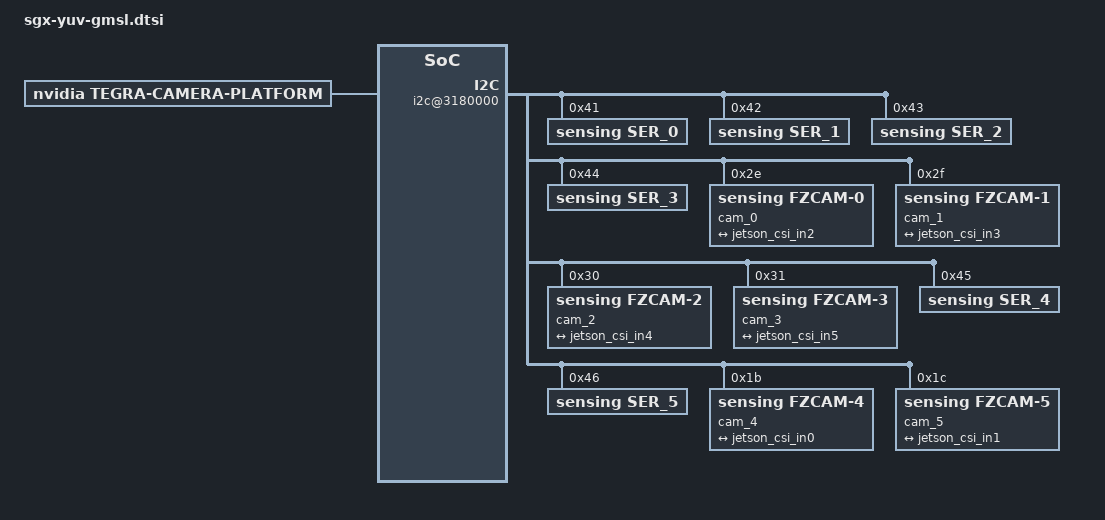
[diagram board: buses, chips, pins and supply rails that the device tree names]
/*
 * Copyright (c) 2018-2021, NVIDIA CORPORATION.  All rights reserved.
 *
 * This program is free software; you can redistribute it and/or modify it
 * under the terms and conditions of the GNU General Public License,
 * version 2, as published by the Free Software Foundation.
 *
 * This program is distributed in the hope it will be useful, but WITHOUT
 * ANY WARRANTY; without even the implied warranty of MERCHANTABILITY or
 * FITNESS FOR A PARTICULAR PURPOSE.  See the GNU General Public License for
 * more details.
 *
 * You should have received a copy of the GNU General Public License
 * along with this program.  If not, see <http://www.gnu.org/licenses/>.
 */

/ {
	tegra-capture-vi {
		num-channels = <6>;
		ports {
			#address-cells = <1>;
			#size-cells = <0>;
			port@0 {
				reg = <0>;
				jetson_vi_in0: endpoint {
					vc-id = <0>;
					port-index = <0>;
					bus-width = <4>;
					remote-endpoint = <&jetson_csi_out0>;
				};
			};
			port@1 {
				reg = <1>;
				jetson_vi_in1: endpoint {
					vc-id = <1>;
					port-index = <0>;
					bus-width = <4>;
					remote-endpoint = <&jetson_csi_out1>;
				};
			};
			port@2 {
				reg = <2>;
				jetson_vi_in2: endpoint {
					vc-id = <0>;
					port-index = <2>;
					bus-width = <4>;
					remote-endpoint = <&jetson_csi_out2>;
				};
			};
			port@3 {
				reg = <3>;
				jetson_vi_in3: endpoint {
					vc-id = <1>;
					port-index = <2>;
					bus-width = <4>;
					remote-endpoint = <&jetson_csi_out3>;
				};
			};
			port@4 {
				reg = <4>;
				jetson_vi_in4: endpoint {
					vc-id = <2>;
					port-index = <2>;
					bus-width = <4>;
					remote-endpoint = <&jetson_csi_out4>;
				};
			};
			port@5 {
				reg = <5>;
				jetson_vi_in5: endpoint {
					vc-id = <3>;
					port-index = <2>;
					bus-width = <4>;
					remote-endpoint = <&jetson_csi_out5>;
				};
			};
		};
	};

	host1x@13e00000 {
		nvcsi@15a00000 {
			num-channels = <6>;
			#address-cells = <1>;
			#size-cells = <0>;
			channel@0 {
				reg = <0>;
				ports {
					#address-cells = <1>;
					#size-cells = <0>;
					port@0 {
						reg = <0>;
						jetson_csi_in0: endpoint@0 {
							port-index = <0>;
							bus-width = <4>;
							remote-endpoint = <&cam_csi_out0>;
						};
					};
					port@1 {
						reg = <1>;
						jetson_csi_out0: endpoint@1 {
							remote-endpoint = <&jetson_vi_in0>;
						};
					};
				};
			};
			channel@1 {
				reg = <1>;
				ports {
					#address-cells = <1>;
					#size-cells = <0>;
					port@0 {
						reg = <0>;
						jetson_csi_in1: endpoint@2 {
							port-index = <0>;
							bus-width = <4>;
							remote-endpoint = <&cam_csi_out1>;
						};
					};
					port@1 {
						reg = <1>;
						jetson_csi_out1: endpoint@3 {
							remote-endpoint = <&jetson_vi_in1>;
						};
					};
				};
			};
			channel@2 {
				reg = <2>;
				ports {
					#address-cells = <1>;
					#size-cells = <0>;
					port@0 {
						reg = <0>;
						jetson_csi_in2: endpoint@4 {
							port-index = <2>;
							bus-width = <4>;
							remote-endpoint = <&cam_csi_out2>;
						};
					};
					port@1 {
						reg = <1>;
						jetson_csi_out2: endpoint@5 {
							remote-endpoint = <&jetson_vi_in2>;
						};
					};
				};
			};
			channel@3 {
				reg = <3>;
				ports {
					#address-cells = <1>;
					#size-cells = <0>;
					port@0 {
						reg = <0>;
						jetson_csi_in3: endpoint@6 {
							port-index = <2>;
							bus-width = <4>;
							remote-endpoint = <&cam_csi_out3>;
						};
					};
					port@1 {
						reg = <1>;
						jetson_csi_out3: endpoint@7 {
							remote-endpoint = <&jetson_vi_in3>;
						};
					};
				};
			};
			channel@4 {
				reg = <4>;
				ports {
					#address-cells = <1>;
					#size-cells = <0>;
					port@0 {
						reg = <0>;
						jetson_csi_in4: endpoint@8 {
							port-index = <2>;
							bus-width = <4>;
							remote-endpoint = <&cam_csi_out4>;
						};
					};
					port@1 {
						reg = <1>;
						jetson_csi_out4: endpoint@9 {
							remote-endpoint = <&jetson_vi_in4>;
						};
					};
				};
			};
			channel@5 {
				reg = <5>;
				ports {
					#address-cells = <1>;
					#size-cells = <0>;
					port@0 {
						reg = <0>;
						jetson_csi_in5: endpoint@10 {
							port-index = <2>;
							bus-width = <4>;
							remote-endpoint = <&cam_csi_out5>;
						};
					};
					port@1 {
						reg = <1>;
						jetson_csi_out5: endpoint@11 {
							remote-endpoint = <&jetson_vi_in5>;
						};
					};
				};
			};
		};
	};

	i2c@3180000 {

		ser_0@41 {
			compatible = "sensing,ser_0";
			reg = <0x41>;
			def_addr = <0x40>;
		};
		ser_1@42 {
			compatible = "sensing,ser_1";
			reg = <0x42>;
			def_addr = <0x40>;
		};
		ser_2@43 {
			compatible = "sensing,ser_2";
			reg = <0x43>;
			def_addr = <0x40>;
		};
		ser_3@44 {
			compatible = "sensing,ser_3";
			reg = <0x44>;
			def_addr = <0x40>;
		};
		cam_0@2e {
			compatible = "sensing,fzcam-0";
			def-addr = <0x1a>;
			reg = <0x2e>;
			devnode = "video0";

			/* Physical dimensions of sensor */
			physical_w = "15.0";
			physical_h = "12.5";

			sensor_model ="fzcam";
			//sync_sensor = "HAWK1";
			//sync_sensor_index = <1>;

			/* Defines number of frames to be dropped by driver internally after applying */
			/* sensor crop settings. Some sensors send corrupt frames after applying */
			/* crop co-ordinates */
			post_crop_frame_drop = "0";

			/* Convert Gain to unit of dB (decibel) befor passing to kernel driver */
			use_decibel_gain = "true";

			/* enable CID_SENSOR_MODE_ID for sensor modes selection */
			use_sensor_mode_id = "true";

			mode0 {/*mode 1280x720@30fps*/
				mclk_khz = "24000";
				num_lanes = "4";
				tegra_sinterface = "serial_c";
				phy_mode = "DPHY";
				vc_id = "0";
				discontinuous_clk = "no";
				dpcm_enable = "false";
				cil_settletime = "0";
				lane_polarity = "0";
				dynamic_pixel_bit_depth = "16";
				csi_pixel_bit_depth = "16";
				mode_type = "yuv";
				pixel_phase = "uyvy";

				active_w = "1280";
				active_h = "720";
				readout_orientation = "0";
				line_length = "1280";
				inherent_gain = "1";
				pix_clk_hz = "240000000";
				serdes_pix_clk_hz = "240000000";

				gain_factor = "100";
				min_gain_val = "100"; /* dB */
				max_gain_val = "1600"; /* dB */
				step_gain_val = "1"; /* 0.1 */
				default_gain = "100";
				min_hdr_ratio = "1";
				max_hdr_ratio = "1";
				framerate_factor = "1000000";
				min_framerate = "30000000";
				max_framerate = "30000000";
				step_framerate = "1";
				default_framerate = "30000000";
				exposure_factor = "1000000";
				min_exp_time = "28"; /*us, 2 lines*/
				max_exp_time = "22000";
				step_exp_time = "1";
				default_exp_time = "22000";/* us */
				embedded_metadata_height = "0";
			};
			mode1 {/*mode 1920x1080@30fps*/
				mclk_khz = "24000";
				num_lanes = "4";
				tegra_sinterface = "serial_c";
				phy_mode = "DPHY";
				vc_id = "0";
				discontinuous_clk = "no";
				dpcm_enable = "false";
				cil_settletime = "0";
				lane_polarity = "0";
				dynamic_pixel_bit_depth = "16";
				csi_pixel_bit_depth = "16";
				mode_type = "yuv";
				pixel_phase = "uyvy";
				
				active_w = "1920";
				active_h = "1080";
				readout_orientation = "0";
				line_length = "1920";
				inherent_gain = "1";
				pix_clk_hz = "200000000";
				serdes_pix_clk_hz = "550000000";

				gain_factor = "10";
				min_gain_val = "1"; /* dB */
				max_gain_val = "300"; /* dB */
				step_gain_val = "3"; /* 0.3 */
				default_gain = "1";
				min_hdr_ratio = "1";
				max_hdr_ratio = "1";
				framerate_factor = "1000000";
				min_framerate = "30000000";
				max_framerate = "30000000";
				step_framerate = "1";
				default_framerate = "30000000";
				exposure_factor = "1000000";
				min_exp_time = "59"; /*us, 2 lines*/
				max_exp_time = "33333";
				step_exp_time = "1";
				default_exp_time = "33333";/* us */
				embedded_metadata_height = "0";
			};
			mode2 {/*mode 1920x1536@30fps*/
				mclk_khz = "24000";
				num_lanes = "4";
				tegra_sinterface = "serial_c";
				phy_mode = "DPHY";
				vc_id = "0";
				discontinuous_clk = "no";
				dpcm_enable = "false";
				cil_settletime = "0";
				lane_polarity = "0";
				dynamic_pixel_bit_depth = "16";
				csi_pixel_bit_depth = "16";
				mode_type = "yuv";
				pixel_phase = "uyvy";

				active_w = "1920";
				active_h = "1536";
				readout_orientation = "0";
				line_length = "1920";
				inherent_gain = "1";
				//mclk_multiplier = "3.01";
				pix_clk_hz = "200000000";
				serdes_pix_clk_hz = "550000000";

				gain_factor = "100";
				min_gain_val = "100"; /* dB */
				max_gain_val = "1600"; /* dB */
				step_gain_val = "1"; /* 0.1 */
				default_gain = "100";
				min_hdr_ratio = "1";
				max_hdr_ratio = "1";
				framerate_factor = "1000000";
				min_framerate = "30000000";
				max_framerate = "30000000";
				step_framerate = "1";
				default_framerate = "30000000";
				exposure_factor = "1000000";
				min_exp_time = "28"; /*us, 2 lines*/
				max_exp_time = "22000";
				step_exp_time = "1";
				default_exp_time = "22000";/* us */
				embedded_metadata_height = "0";
			};
			mode3 {//sg2-gmsl2-gw5xxx(2880*1680)
				mclk_khz = "24000";
				num_lanes = "4";
				tegra_sinterface = "serial_c";
				phy_mode = "DPHY";
				vc_id = "0";
				discontinuous_clk = "no";
				dpcm_enable = "false";
				cil_settletime = "0";
				lane_polarity = "0";
				dynamic_pixel_bit_depth = "16";
				csi_pixel_bit_depth = "16";
				mode_type = "yuv";
				pixel_phase = "uyvy";
			
				active_w = "2880";
				active_h = "1860";
				readout_orientation = "0";
				line_length = "2880";
				inherent_gain = "1";
				pix_clk_hz = "300000000";
				serdes_pix_clk_hz = "625000000";

				gain_factor = "10";
				min_gain_val = "10"; /* dB */
				max_gain_val = "300"; /* dB */
				step_gain_val = "3"; /* 0.3 */
				default_gain = "10";
				min_hdr_ratio = "1";
				max_hdr_ratio = "1";
				framerate_factor = "1000000";
				min_framerate = "30000000";
				max_framerate = "30000000";
				step_framerate = "1";
				default_framerate = "30000000";
				exposure_factor = "1000000";
				min_exp_time = "59"; /*us, 2 lines*/
				max_exp_time = "33333";
				step_exp_time = "1";
				default_exp_time = "33333";/* us */
				embedded_metadata_height = "0";
			};
			mode4 {//sg2-gmsl2-gw5xxx(3840*2160)
				mclk_khz = "24000";
				num_lanes = "4";
				tegra_sinterface = "serial_c";
				vc_id = "0";
				discontinuous_clk = "no";
				dpcm_enable = "false";
				cil_settletime = "0";
				dynamic_pixel_bit_depth = "16";
				csi_pixel_bit_depth = "16";
				mode_type = "yuv";
				pixel_phase = "uyvy";
				
				active_w = "3840";
				active_h = "2160";
				readout_orientation = "0";
				line_length = "4200";
				inherent_gain = "1";
				pix_clk_hz = "320000000";
				serdes_pix_clk_hz = "700000000";

				gain_factor = "1000";
				min_gain_val = "1"; /* dB */
				max_gain_val = "30000"; /* dB */
				step_gain_val = "300"; /* 0.3 */
				default_gain = "0";
				min_hdr_ratio = "1";
				max_hdr_ratio = "1";
				framerate_factor = "1000000";
				min_framerate = "30000000";
				max_framerate = "30000000";
				step_framerate = "1";
				default_framerate = "30000000";
				exposure_factor = "1000000";
				min_exp_time = "59"; /*us, 2 lines*/
				max_exp_time = "33333";
				step_exp_time = "1";
				default_exp_time = "33333";/* us */
				embedded_metadata_height = "0";
			};

			ports {
				#address-cells = <1>;
				#size-cells = <0>;
				port@0 {
					reg = <0>;
					cam_csi_out2: endpoint {
						vc-id = <0>;
						port-index = <2>;
						bus-width = <4>;
						remote-endpoint = <&jetson_csi_in2>;
					};
				};
			};
		};
		cam_1@2f {
			compatible = "sensing,fzcam-1";
			def-addr = <0x1a>;
			reg = <0x2f>;
			devnode = "video1";

			/* Physical dimensions of sensor */
			physical_w = "15.0";
			physical_h = "12.5";

			sensor_model ="fzcam";

			/* Defines number of frames to be dropped by driver internally after applying */
			/* sensor crop settings. Some sensors send corrupt frames after applying */
			/* crop co-ordinates */
			post_crop_frame_drop = "0";

			/* Convert Gain to unit of dB (decibel) befor passing to kernel driver */
			use_decibel_gain = "true";

			/* enable CID_SENSOR_MODE_ID for sensor modes selection */
			use_sensor_mode_id = "true";

			mode0 {/*mode 1280x720@30fps*/
				mclk_khz = "24000";
				num_lanes = "4";
				tegra_sinterface = "serial_c";
				phy_mode = "DPHY";
				vc_id = "1";
				discontinuous_clk = "no";
				dpcm_enable = "false";
				cil_settletime = "0";
				lane_polarity = "0";
				dynamic_pixel_bit_depth = "16";
				csi_pixel_bit_depth = "16";
				mode_type = "yuv";
				pixel_phase = "uyvy";

				active_w = "1280";
				active_h = "720";
				readout_orientation = "0";
				line_length = "1280";
				inherent_gain = "1";
				pix_clk_hz = "240000000";
				serdes_pix_clk_hz = "240000000";

				gain_factor = "100";
				min_gain_val = "100"; /* dB */
				max_gain_val = "1600"; /* dB */
				step_gain_val = "1"; /* 0.1 */
				default_gain = "100";
				min_hdr_ratio = "1";
				max_hdr_ratio = "1";
				framerate_factor = "1000000";
				min_framerate = "30000000";
				max_framerate = "30000000";
				step_framerate = "1";
				default_framerate = "30000000";
				exposure_factor = "1000000";
				min_exp_time = "28"; /*us, 2 lines*/
				max_exp_time = "22000";
				step_exp_time = "1";
				default_exp_time = "22000";/* us */
				embedded_metadata_height = "0";
			};
			mode1 {/*mode 1920x1080@30fps*/
				mclk_khz = "24000";
				num_lanes = "4";
				tegra_sinterface = "serial_c";
				phy_mode = "DPHY";
				vc_id = "1";
				discontinuous_clk = "no";
				dpcm_enable = "false";
				cil_settletime = "0";
				lane_polarity = "0";
				dynamic_pixel_bit_depth = "16";
				csi_pixel_bit_depth = "16";
				mode_type = "yuv";
				pixel_phase = "uyvy";
				
				active_w = "1920";
				active_h = "1080";
				readout_orientation = "0";
				line_length = "1920";
				inherent_gain = "1";
				pix_clk_hz = "200000000";
				serdes_pix_clk_hz = "550000000";

				gain_factor = "10";
				min_gain_val = "1"; /* dB */
				max_gain_val = "300"; /* dB */
				step_gain_val = "3"; /* 0.3 */
				default_gain = "1";
				min_hdr_ratio = "1";
				max_hdr_ratio = "1";
				framerate_factor = "1000000";
				min_framerate = "30000000";
				max_framerate = "30000000";
				step_framerate = "1";
				default_framerate = "30000000";
				exposure_factor = "1000000";
				min_exp_time = "59"; /*us, 2 lines*/
				max_exp_time = "33333";
				step_exp_time = "1";
				default_exp_time = "33333";/* us */
				embedded_metadata_height = "0";
			};
			mode2 {/*mode 1920x1536@30fps*/
				mclk_khz = "24000";
				num_lanes = "4";
				tegra_sinterface = "serial_c";
				phy_mode = "DPHY";
				vc_id = "1";
				discontinuous_clk = "no";
				dpcm_enable = "false";
				cil_settletime = "0";
				lane_polarity = "0";
				dynamic_pixel_bit_depth = "16";
				csi_pixel_bit_depth = "16";
				mode_type = "yuv";
				pixel_phase = "uyvy";

				active_w = "1920";
				active_h = "1536";
				readout_orientation = "0";
				line_length = "1920";
				inherent_gain = "1";
				//mclk_multiplier = "3.01";
				pix_clk_hz = "200000000";
				serdes_pix_clk_hz = "550000000";

				gain_factor = "100";
				min_gain_val = "100"; /* dB */
				max_gain_val = "1600"; /* dB */
				step_gain_val = "1"; /* 0.1 */
				default_gain = "100";
				min_hdr_ratio = "1";
				max_hdr_ratio = "1";
				framerate_factor = "1000000";
				min_framerate = "30000000";
				max_framerate = "30000000";
				step_framerate = "1";
				default_framerate = "30000000";
				exposure_factor = "1000000";
				min_exp_time = "28"; /*us, 2 lines*/
				max_exp_time = "22000";
				step_exp_time = "1";
				default_exp_time = "22000";/* us */
				embedded_metadata_height = "0";
			};
			mode3 {//sg2-gmsl2-gw5xxx(2880*1680)
				mclk_khz = "24000";
				num_lanes = "4";
				tegra_sinterface = "serial_c";
				phy_mode = "DPHY";
				vc_id = "1";
				discontinuous_clk = "no";
				dpcm_enable = "false";
				cil_settletime = "0";
				lane_polarity = "0";
				dynamic_pixel_bit_depth = "16";
				csi_pixel_bit_depth = "16";
				mode_type = "yuv";
				pixel_phase = "uyvy";
			
				active_w = "2880";
				active_h = "1860";
				readout_orientation = "0";
				line_length = "2880";
				inherent_gain = "1";
				pix_clk_hz = "300000000";
				serdes_pix_clk_hz = "625000000";

				gain_factor = "10";
				min_gain_val = "10"; /* dB */
				max_gain_val = "300"; /* dB */
				step_gain_val = "3"; /* 0.3 */
				default_gain = "10";
				min_hdr_ratio = "1";
				max_hdr_ratio = "1";
				framerate_factor = "1000000";
				min_framerate = "30000000";
				max_framerate = "30000000";
				step_framerate = "1";
				default_framerate = "30000000";
				exposure_factor = "1000000";
				min_exp_time = "59"; /*us, 2 lines*/
				max_exp_time = "33333";
				step_exp_time = "1";
				default_exp_time = "33333";/* us */
				embedded_metadata_height = "0";
			};
			mode4 {//sg2-gmsl2-gw5xxx(3840*2160)
				mclk_khz = "24000";
				num_lanes = "4";
				tegra_sinterface = "serial_c";
				vc_id = "1";
				discontinuous_clk = "no";
				dpcm_enable = "false";
				cil_settletime = "0";
				dynamic_pixel_bit_depth = "16";
				csi_pixel_bit_depth = "16";
				mode_type = "yuv";
				pixel_phase = "uyvy";
				
				active_w = "3840";
				active_h = "2160";
				readout_orientation = "0";
				line_length = "4200";
				inherent_gain = "1";
				pix_clk_hz = "320000000";
				serdes_pix_clk_hz = "700000000";

				gain_factor = "1000";
				min_gain_val = "1"; /* dB */
				max_gain_val = "30000"; /* dB */
				step_gain_val = "300"; /* 0.3 */
				default_gain = "0";
				min_hdr_ratio = "1";
				max_hdr_ratio = "1";
				framerate_factor = "1000000";
				min_framerate = "30000000";
				max_framerate = "30000000";
				step_framerate = "1";
				default_framerate = "30000000";
				exposure_factor = "1000000";
				min_exp_time = "59"; /*us, 2 lines*/
				max_exp_time = "33333";
				step_exp_time = "1";
				default_exp_time = "33333";/* us */
				embedded_metadata_height = "0";
			};

			ports {
				#address-cells = <1>;
				#size-cells = <0>;
				port@0 {
					reg = <0>;
					cam_csi_out3: endpoint {
						vc-id = <1>;
						port-index = <2>;
						bus-width = <4>;
						remote-endpoint = <&jetson_csi_in3>;
					};
				};
			};
		};
		cam_2@30 {
			compatible = "sensing,fzcam-2";
			def-addr = <0x1a>;
			reg = <0x30>;
			devnode = "video2";

			/* Physical dimensions of sensor */
			physical_w = "15.0";
			physical_h = "12.5";

			sensor_model ="fzcam";
			//sync_sensor = "HAWK1";
			//sync_sensor_index = <1>;

			/* Defines number of frames to be dropped by driver internally after applying */
			/* sensor crop settings. Some sensors send corrupt frames after applying */
			/* crop co-ordinates */
			post_crop_frame_drop = "0";

			/* Convert Gain to unit of dB (decibel) befor passing to kernel driver */
			use_decibel_gain = "true";

			/* enable CID_SENSOR_MODE_ID for sensor modes selection */
			use_sensor_mode_id = "true";

			mode0 {/*mode 1280x720@30fps*/
				mclk_khz = "24000";
				num_lanes = "4";
				tegra_sinterface = "serial_c";
				phy_mode = "DPHY";
				vc_id = "2";
				discontinuous_clk = "no";
				dpcm_enable = "false";
				cil_settletime = "0";
				lane_polarity = "0";
				dynamic_pixel_bit_depth = "16";
				csi_pixel_bit_depth = "16";
				mode_type = "yuv";
				pixel_phase = "uyvy";

				active_w = "1280";
				active_h = "720";
				readout_orientation = "0";
				line_length = "1280";
				inherent_gain = "1";
				//mclk_multiplier = "3.01";
				pix_clk_hz = "240000000";
				serdes_pix_clk_hz = "240000000";

				gain_factor = "100";
				min_gain_val = "100"; /* dB */
				max_gain_val = "1600"; /* dB */
				step_gain_val = "1"; /* 0.1 */
				default_gain = "100";
				min_hdr_ratio = "1";
				max_hdr_ratio = "1";
				framerate_factor = "1000000";
				min_framerate = "30000000";
				max_framerate = "30000000";
				step_framerate = "1";
				default_framerate = "30000000";
				exposure_factor = "1000000";
				min_exp_time = "28"; /*us, 2 lines*/
				max_exp_time = "22000";
				step_exp_time = "1";
				default_exp_time = "22000";/* us */
				embedded_metadata_height = "0";
			};
			mode1 {/*mode 1920x1080@30fps*/
				mclk_khz = "24000";
				num_lanes = "4";
				tegra_sinterface = "serial_c";
				phy_mode = "DPHY";
				vc_id = "2";
				discontinuous_clk = "no";
				dpcm_enable = "false";
				cil_settletime = "0";
				lane_polarity = "0";
				dynamic_pixel_bit_depth = "16";
				csi_pixel_bit_depth = "16";
				mode_type = "yuv";
				pixel_phase = "uyvy";
				
				active_w = "1920";
				active_h = "1080";
				readout_orientation = "0";
				line_length = "1920";
				inherent_gain = "1";
				pix_clk_hz = "200000000";
				serdes_pix_clk_hz = "550000000";

				gain_factor = "10";
				min_gain_val = "1"; /* dB */
				max_gain_val = "300"; /* dB */
				step_gain_val = "3"; /* 0.3 */
				default_gain = "1";
				min_hdr_ratio = "1";
				max_hdr_ratio = "1";
				framerate_factor = "1000000";
				min_framerate = "30000000";
				max_framerate = "30000000";
				step_framerate = "1";
				default_framerate = "30000000";
				exposure_factor = "1000000";
				min_exp_time = "59"; /*us, 2 lines*/
				max_exp_time = "33333";
				step_exp_time = "1";
				default_exp_time = "33333";/* us */
				embedded_metadata_height = "0";
			};
			mode2 {/*mode 1920x1536@30fps*/
				mclk_khz = "24000";
				num_lanes = "4";
				tegra_sinterface = "serial_c";
				phy_mode = "DPHY";
				vc_id = "2";
				discontinuous_clk = "no";
				dpcm_enable = "false";
				cil_settletime = "0";
				lane_polarity = "0";
				dynamic_pixel_bit_depth = "16";
				csi_pixel_bit_depth = "16";
				mode_type = "yuv";
				pixel_phase = "uyvy";

				active_w = "1920";
				active_h = "1536";
				readout_orientation = "0";
				line_length = "1920";
				inherent_gain = "1";
				//mclk_multiplier = "3.01";
				pix_clk_hz = "200000000";
				serdes_pix_clk_hz = "550000000";

				gain_factor = "100";
				min_gain_val = "100"; /* dB */
				max_gain_val = "1600"; /* dB */
				step_gain_val = "1"; /* 0.1 */
				default_gain = "100";
				min_hdr_ratio = "1";
				max_hdr_ratio = "1";
				framerate_factor = "1000000";
				min_framerate = "30000000";
				max_framerate = "30000000";
				step_framerate = "1";
				default_framerate = "30000000";
				exposure_factor = "1000000";
				min_exp_time = "28"; /*us, 2 lines*/
				max_exp_time = "22000";
				step_exp_time = "1";
				default_exp_time = "22000";/* us */
				embedded_metadata_height = "0";
			};
			mode3 {//sg2-gmsl2-gw5xxx(2880*1680)
				mclk_khz = "24000";
				num_lanes = "4";
				tegra_sinterface = "serial_c";
				phy_mode = "DPHY";
				vc_id = "2";
				discontinuous_clk = "no";
				dpcm_enable = "false";
				cil_settletime = "0";
				lane_polarity = "0";
				dynamic_pixel_bit_depth = "16";
				csi_pixel_bit_depth = "16";
				mode_type = "yuv";
				pixel_phase = "uyvy";
			
				active_w = "2880";
				active_h = "1860";
				readout_orientation = "0";
				line_length = "2880";
				inherent_gain = "1";
				pix_clk_hz = "300000000";
				serdes_pix_clk_hz = "625000000";

				gain_factor = "10";
				min_gain_val = "10"; /* dB */
				max_gain_val = "300"; /* dB */
				step_gain_val = "3"; /* 0.3 */
				default_gain = "10";
				min_hdr_ratio = "1";
				max_hdr_ratio = "1";
				framerate_factor = "1000000";
				min_framerate = "30000000";
				max_framerate = "30000000";
				step_framerate = "1";
				default_framerate = "30000000";
				exposure_factor = "1000000";
				min_exp_time = "59"; /*us, 2 lines*/
				max_exp_time = "33333";
				step_exp_time = "1";
				default_exp_time = "33333";/* us */
				embedded_metadata_height = "0";
			};
			mode4 {//sg2-gmsl2-gw5xxx(3840*2160)
				mclk_khz = "24000";
				num_lanes = "4";
				tegra_sinterface = "serial_c";
				vc_id = "2";
				discontinuous_clk = "no";
				dpcm_enable = "false";
				cil_settletime = "0";
				dynamic_pixel_bit_depth = "16";
				csi_pixel_bit_depth = "16";
				mode_type = "yuv";
				pixel_phase = "uyvy";
				
				active_w = "3840";
				active_h = "2160";
				readout_orientation = "0";
				line_length = "4200";
				inherent_gain = "1";
				pix_clk_hz = "320000000";
				serdes_pix_clk_hz = "700000000";

				gain_factor = "1000";
				min_gain_val = "1"; /* dB */
				max_gain_val = "30000"; /* dB */
				step_gain_val = "300"; /* 0.3 */
				default_gain = "0";
				min_hdr_ratio = "1";
				max_hdr_ratio = "1";
				framerate_factor = "1000000";
				min_framerate = "30000000";
				max_framerate = "30000000";
				step_framerate = "1";
				default_framerate = "30000000";
				exposure_factor = "1000000";
				min_exp_time = "59"; /*us, 2 lines*/
				max_exp_time = "33333";
				step_exp_time = "1";
				default_exp_time = "33333";/* us */
				embedded_metadata_height = "0";
			};

			ports {
				#address-cells = <1>;
				#size-cells = <0>;
				port@0 {
					reg = <0>;
					cam_csi_out4: endpoint {
						vc-id = <2>;
						port-index = <2>;
						bus-width = <4>;
						remote-endpoint = <&jetson_csi_in4>;
					};
				};
			};
		};
		cam_3@31 {
			compatible = "sensing,fzcam-3";
			def-addr = <0x1a>;
			reg = <0x31>;
			devnode = "video3";

			/* Physical dimensions of sensor */
			physical_w = "15.0";
			physical_h = "12.5";

			sensor_model ="fzcam";

			/* Defines number of frames to be dropped by driver internally after applying */
			/* sensor crop settings. Some sensors send corrupt frames after applying */
			/* crop co-ordinates */
			post_crop_frame_drop = "0";

			/* Convert Gain to unit of dB (decibel) befor passing to kernel driver */
			use_decibel_gain = "true";

			/* enable CID_SENSOR_MODE_ID for sensor modes selection */
			use_sensor_mode_id = "true";

			mode0 {/*mode 1280x720@30fps*/
				mclk_khz = "24000";
				num_lanes = "4";
				tegra_sinterface = "serial_c";
				phy_mode = "DPHY";
				vc_id = "3";
				discontinuous_clk = "no";
				dpcm_enable = "false";
				cil_settletime = "0";
				lane_polarity = "0";
				dynamic_pixel_bit_depth = "16";
				csi_pixel_bit_depth = "16";
				mode_type = "yuv";
				pixel_phase = "uyvy";

				active_w = "1280";
				active_h = "720";
				readout_orientation = "0";
				line_length = "1280";
				inherent_gain = "1";
				//mclk_multiplier = "3.01";
				pix_clk_hz = "240000000";
				serdes_pix_clk_hz = "240000000";

				gain_factor = "100";
				min_gain_val = "100"; /* dB */
				max_gain_val = "1600"; /* dB */
				step_gain_val = "1"; /* 0.1 */
				default_gain = "100";
				min_hdr_ratio = "1";
				max_hdr_ratio = "1";
				framerate_factor = "1000000";
				min_framerate = "30000000";
				max_framerate = "30000000";
				step_framerate = "1";
				default_framerate = "30000000";
				exposure_factor = "1000000";
				min_exp_time = "28"; /*us, 2 lines*/
				max_exp_time = "22000";
				step_exp_time = "1";
				default_exp_time = "22000";/* us */
				embedded_metadata_height = "0";
			};
			mode1 {/*mode 1920x1080@30fps*/
				mclk_khz = "24000";
				num_lanes = "4";
				tegra_sinterface = "serial_c";
				phy_mode = "DPHY";
				vc_id = "3";
				discontinuous_clk = "no";
				dpcm_enable = "false";
				cil_settletime = "0";
				lane_polarity = "0";
				dynamic_pixel_bit_depth = "16";
				csi_pixel_bit_depth = "16";
				mode_type = "yuv";
				pixel_phase = "uyvy";
				
				active_w = "1920";
				active_h = "1080";
				readout_orientation = "0";
				line_length = "1920";
				inherent_gain = "1";
				pix_clk_hz = "200000000";
				serdes_pix_clk_hz = "550000000";

				gain_factor = "10";
				min_gain_val = "1"; /* dB */
				max_gain_val = "300"; /* dB */
				step_gain_val = "3"; /* 0.3 */
				default_gain = "1";
				min_hdr_ratio = "1";
				max_hdr_ratio = "1";
				framerate_factor = "1000000";
				min_framerate = "30000000";
				max_framerate = "30000000";
				step_framerate = "1";
				default_framerate = "30000000";
				exposure_factor = "1000000";
				min_exp_time = "59"; /*us, 2 lines*/
				max_exp_time = "33333";
				step_exp_time = "1";
				default_exp_time = "33333";/* us */
				embedded_metadata_height = "0";
			};
			mode2 {/*mode 1920x1536@30fps*/
				mclk_khz = "24000";
				num_lanes = "4";
				tegra_sinterface = "serial_c";
				phy_mode = "DPHY";
				vc_id = "3";
				discontinuous_clk = "no";
				dpcm_enable = "false";
				cil_settletime = "0";
				lane_polarity = "0";
				dynamic_pixel_bit_depth = "16";
				csi_pixel_bit_depth = "16";
				mode_type = "yuv";
				pixel_phase = "uyvy";

				active_w = "1920";
				active_h = "1536";
				readout_orientation = "0";
				line_length = "1920";
				inherent_gain = "1";
				//mclk_multiplier = "3.01";
				pix_clk_hz = "200000000";
				serdes_pix_clk_hz = "550000000";

				gain_factor = "100";
				min_gain_val = "100"; /* dB */
				max_gain_val = "1600"; /* dB */
				step_gain_val = "1"; /* 0.1 */
				default_gain = "100";
				min_hdr_ratio = "1";
				max_hdr_ratio = "1";
				framerate_factor = "1000000";
				min_framerate = "30000000";
				max_framerate = "30000000";
				step_framerate = "1";
				default_framerate = "30000000";
				exposure_factor = "1000000";
				min_exp_time = "28"; /*us, 2 lines*/
				max_exp_time = "22000";
				step_exp_time = "1";
				default_exp_time = "22000";/* us */
				embedded_metadata_height = "0";
			};
			mode3 {//sg2-gmsl2-gw5xxx(2880*1680)
				mclk_khz = "24000";
				num_lanes = "4";
				tegra_sinterface = "serial_c";
				phy_mode = "DPHY";
				vc_id = "3";
				discontinuous_clk = "no";
				dpcm_enable = "false";
				cil_settletime = "0";
				lane_polarity = "0";
				dynamic_pixel_bit_depth = "16";
				csi_pixel_bit_depth = "16";
				mode_type = "yuv";
				pixel_phase = "uyvy";
			
				active_w = "2880";
				active_h = "1860";
				readout_orientation = "0";
				line_length = "2880";
				inherent_gain = "1";
				pix_clk_hz = "300000000";
				serdes_pix_clk_hz = "625000000";

				gain_factor = "10";
				min_gain_val = "10"; /* dB */
				max_gain_val = "300"; /* dB */
				step_gain_val = "3"; /* 0.3 */
				default_gain = "10";
				min_hdr_ratio = "1";
				max_hdr_ratio = "1";
				framerate_factor = "1000000";
				min_framerate = "30000000";
				max_framerate = "30000000";
				step_framerate = "1";
				default_framerate = "30000000";
				exposure_factor = "1000000";
				min_exp_time = "59"; /*us, 2 lines*/
				max_exp_time = "33333";
				step_exp_time = "1";
				default_exp_time = "33333";/* us */
				embedded_metadata_height = "0";
			};
			mode4 {//sg2-gmsl2-gw5xxx(3840*2160)
				mclk_khz = "24000";
				num_lanes = "4";
				tegra_sinterface = "serial_c";
				vc_id = "3";
				discontinuous_clk = "no";
				dpcm_enable = "false";
				cil_settletime = "0";
				dynamic_pixel_bit_depth = "16";
				csi_pixel_bit_depth = "16";
				mode_type = "yuv";
				pixel_phase = "uyvy";
				
				active_w = "3840";
				active_h = "2160";
				readout_orientation = "0";
				line_length = "4200";
				inherent_gain = "1";
				pix_clk_hz = "320000000";
				serdes_pix_clk_hz = "700000000";

				gain_factor = "1000";
				min_gain_val = "1"; /* dB */
				max_gain_val = "30000"; /* dB */
				step_gain_val = "300"; /* 0.3 */
				default_gain = "0";
				min_hdr_ratio = "1";
				max_hdr_ratio = "1";
				framerate_factor = "1000000";
				min_framerate = "30000000";
				max_framerate = "30000000";
				step_framerate = "1";
				default_framerate = "30000000";
				exposure_factor = "1000000";
				min_exp_time = "59"; /*us, 2 lines*/
				max_exp_time = "33333";
				step_exp_time = "1";
				default_exp_time = "33333";/* us */
				embedded_metadata_height = "0";
			};

			ports {
				#address-cells = <1>;
				#size-cells = <0>;
				port@0 {
					reg = <0>;
					cam_csi_out5: endpoint {
						vc-id = <3>;
						port-index = <2>;
						bus-width = <4>;
						remote-endpoint = <&jetson_csi_in5>;
					};
				};
			};
		};

		ser_4@45 {
			compatible = "sensing,ser_4";
			reg = <0x45>;
			def_addr = <0x40>;
		};
		ser_5@46 {
			compatible = "sensing,ser_5";
			reg = <0x46>;
			def_addr = <0x40>;
		};
		cam_4@1b {
			compatible = "sensing,fzcam-4";
			def-addr = <0x1a>;
			reg = <0x1b>;
			devnode = "video4";

			/* Physical dimensions of sensor */
			physical_w = "15.0";
			physical_h = "12.5";

			sensor_model ="fzcam";
			//sync_sensor = "HAWK1";
			//sync_sensor_index = <1>;

			/* Defines number of frames to be dropped by driver internally after applying */
			/* sensor crop settings. Some sensors send corrupt frames after applying */
			/* crop co-ordinates */
			post_crop_frame_drop = "0";

			/* Convert Gain to unit of dB (decibel) befor passing to kernel driver */
			use_decibel_gain = "true";

			/* enable CID_SENSOR_MODE_ID for sensor modes selection */
			use_sensor_mode_id = "true";

			mode0 {/*mode 1280x720@30fps*/
				mclk_khz = "24000";
				num_lanes = "4";
				tegra_sinterface = "serial_a";
				phy_mode = "DPHY";
				vc_id = "0";
				discontinuous_clk = "no";
				dpcm_enable = "false";
				cil_settletime = "0";
				lane_polarity = "6";
				dynamic_pixel_bit_depth = "16";
				csi_pixel_bit_depth = "16";
				mode_type = "yuv";
				pixel_phase = "uyvy";

				active_w = "1280";
				active_h = "720";
				readout_orientation = "0";
				line_length = "1280";
				inherent_gain = "1";
				pix_clk_hz = "240000000";
				serdes_pix_clk_hz = "240000000";

				gain_factor = "100";
				min_gain_val = "100"; /* dB */
				max_gain_val = "1600"; /* dB */
				step_gain_val = "1"; /* 0.1 */
				default_gain = "100";
				min_hdr_ratio = "1";
				max_hdr_ratio = "1";
				framerate_factor = "1000000";
				min_framerate = "30000000";
				max_framerate = "30000000";
				step_framerate = "1";
				default_framerate = "30000000";
				exposure_factor = "1000000";
				min_exp_time = "28"; /*us, 2 lines*/
				max_exp_time = "22000";
				step_exp_time = "1";
				default_exp_time = "22000";/* us */
				embedded_metadata_height = "0";
			};
			mode1 {/*mode 1920x1080@30fps*/
				mclk_khz = "24000";
				num_lanes = "4";
				tegra_sinterface = "serial_a";
				phy_mode = "DPHY";
				vc_id = "0";
				discontinuous_clk = "no";
				dpcm_enable = "false";
				cil_settletime = "0";
				lane_polarity = "6";
				dynamic_pixel_bit_depth = "16";
				csi_pixel_bit_depth = "16";
				mode_type = "yuv";
				pixel_phase = "uyvy";
				
				active_w = "1920";
				active_h = "1080";
				readout_orientation = "0";
				line_length = "1920";
				inherent_gain = "1";
				pix_clk_hz = "200000000";
				serdes_pix_clk_hz = "550000000";

				gain_factor = "10";
				min_gain_val = "1"; /* dB */
				max_gain_val = "300"; /* dB */
				step_gain_val = "3"; /* 0.3 */
				default_gain = "1";
				min_hdr_ratio = "1";
				max_hdr_ratio = "1";
				framerate_factor = "1000000";
				min_framerate = "30000000";
				max_framerate = "30000000";
				step_framerate = "1";
				default_framerate = "30000000";
				exposure_factor = "1000000";
				min_exp_time = "59"; /*us, 2 lines*/
				max_exp_time = "33333";
				step_exp_time = "1";
				default_exp_time = "33333";/* us */
				embedded_metadata_height = "0";
			};
			mode2 {/*mode 1920x1536@30fps*/
				mclk_khz = "24000";
				num_lanes = "4";
				tegra_sinterface = "serial_a";
				phy_mode = "DPHY";
				vc_id = "0";
				discontinuous_clk = "no";
				dpcm_enable = "false";
				cil_settletime = "0";
				lane_polarity = "6";
				dynamic_pixel_bit_depth = "16";
				csi_pixel_bit_depth = "16";
				mode_type = "yuv";
				pixel_phase = "uyvy";

				active_w = "1920";
				active_h = "1536";
				readout_orientation = "0";
				line_length = "1920";
				inherent_gain = "1";
				//mclk_multiplier = "3.01";
				pix_clk_hz = "200000000";
				serdes_pix_clk_hz = "550000000";

				gain_factor = "100";
				min_gain_val = "100"; /* dB */
				max_gain_val = "1600"; /* dB */
				step_gain_val = "1"; /* 0.1 */
				default_gain = "100";
				min_hdr_ratio = "1";
				max_hdr_ratio = "1";
				framerate_factor = "1000000";
				min_framerate = "30000000";
				max_framerate = "30000000";
				step_framerate = "1";
				default_framerate = "30000000";
				exposure_factor = "1000000";
				min_exp_time = "28"; /*us, 2 lines*/
				max_exp_time = "22000";
				step_exp_time = "1";
				default_exp_time = "22000";/* us */
				embedded_metadata_height = "0";
			};
			mode3 {//sg2-gmsl2-gw5xxx(2880*1680)
				mclk_khz = "24000";
				num_lanes = "4";
				tegra_sinterface = "serial_a";
				phy_mode = "DPHY";
				vc_id = "0";
				discontinuous_clk = "no";
				dpcm_enable = "false";
				cil_settletime = "0";
				lane_polarity = "6";
				dynamic_pixel_bit_depth = "16";
				csi_pixel_bit_depth = "16";
				mode_type = "yuv";
				pixel_phase = "uyvy";
			
				active_w = "2880";
				active_h = "1860";
				readout_orientation = "0";
				line_length = "2880";
				inherent_gain = "1";
				pix_clk_hz = "350000000";
				serdes_pix_clk_hz = "400000000";

				gain_factor = "10";
				min_gain_val = "10"; /* dB */
				max_gain_val = "300"; /* dB */
				step_gain_val = "3"; /* 0.3 */
				default_gain = "10";
				min_hdr_ratio = "1";
				max_hdr_ratio = "1";
				framerate_factor = "1000000";
				min_framerate = "30000000";
				max_framerate = "30000000";
				step_framerate = "1";
				default_framerate = "30000000";
				exposure_factor = "1000000";
				min_exp_time = "59"; /*us, 2 lines*/
				max_exp_time = "33333";
				step_exp_time = "1";
				default_exp_time = "33333";/* us */
				embedded_metadata_height = "0";
			};
			mode4 {//sg2-gmsl2-gw5xxx(3840*2160)
				mclk_khz = "24000";
				num_lanes = "4";
				tegra_sinterface = "serial_a";
				vc_id = "0";
				discontinuous_clk = "no";
				dpcm_enable = "false";
				cil_settletime = "0";
				lane_polarity = "6";
				dynamic_pixel_bit_depth = "16";
				csi_pixel_bit_depth = "16";
				mode_type = "yuv";
				pixel_phase = "uyvy";
				
				active_w = "3840";
				active_h = "2160";
				readout_orientation = "0";
				line_length = "4200";
				inherent_gain = "1";
				pix_clk_hz = "320000000";
				serdes_pix_clk_hz = "700000000";

				gain_factor = "1000";
				min_gain_val = "1"; /* dB */
				max_gain_val = "30000"; /* dB */
				step_gain_val = "300"; /* 0.3 */
				default_gain = "0";
				min_hdr_ratio = "1";
				max_hdr_ratio = "1";
				framerate_factor = "1000000";
				min_framerate = "30000000";
				max_framerate = "30000000";
				step_framerate = "1";
				default_framerate = "30000000";
				exposure_factor = "1000000";
				min_exp_time = "59"; /*us, 2 lines*/
				max_exp_time = "33333";
				step_exp_time = "1";
				default_exp_time = "33333";/* us */
				embedded_metadata_height = "0";
			};
			ports {
				#address-cells = <1>;
				#size-cells = <0>;
				port@0 {
					reg = <0>;
					cam_csi_out0: endpoint {
						vc-id = <0>;
						port-index = <0>;
						bus-width = <4>;
						remote-endpoint = <&jetson_csi_in0>;
					};
				};
			};
		};
		cam_5@1c {
			compatible = "sensing,fzcam-5";
			def-addr = <0x1a>;
			reg = <0x1c>;
			devnode = "video5";

			/* Physical dimensions of sensor */
			physical_w = "15.0";
			physical_h = "12.5";

			sensor_model ="fzcam";
			//sync_sensor = "HAWK1";
			//sync_sensor_index = <1>;

			/* Defines number of frames to be dropped by driver internally after applying */
			/* sensor crop settings. Some sensors send corrupt frames after applying */
			/* crop co-ordinates */
			post_crop_frame_drop = "0";

			/* Convert Gain to unit of dB (decibel) befor passing to kernel driver */
			use_decibel_gain = "true";

			/* enable CID_SENSOR_MODE_ID for sensor modes selection */
			use_sensor_mode_id = "true";

			mode0 {/*mode 1280x720@30fps*/
				mclk_khz = "24000";
				num_lanes = "4";
				tegra_sinterface = "serial_a";
				phy_mode = "DPHY";
				vc_id = "1";
				discontinuous_clk = "no";
				dpcm_enable = "false";
				cil_settletime = "0";
				lane_polarity = "6";
				dynamic_pixel_bit_depth = "16";
				csi_pixel_bit_depth = "16";
				mode_type = "yuv";
				pixel_phase = "uyvy";

				active_w = "1280";
				active_h = "720";
				readout_orientation = "0";
				line_length = "1280";
				inherent_gain = "1";
				//mclk_multiplier = "3.01";
				pix_clk_hz = "240000000";
				serdes_pix_clk_hz = "240000000";

				gain_factor = "100";
				min_gain_val = "100"; /* dB */
				max_gain_val = "1600"; /* dB */
				step_gain_val = "1"; /* 0.1 */
				default_gain = "100";
				min_hdr_ratio = "1";
				max_hdr_ratio = "1";
				framerate_factor = "1000000";
				min_framerate = "30000000";
				max_framerate = "30000000";
				step_framerate = "1";
				default_framerate = "30000000";
				exposure_factor = "1000000";
				min_exp_time = "28"; /*us, 2 lines*/
				max_exp_time = "22000";
				step_exp_time = "1";
				default_exp_time = "22000";/* us */
				embedded_metadata_height = "0";
			};
			mode1 {/*mode 1920x1080@30fps*/
				mclk_khz = "24000";
				num_lanes = "4";
				tegra_sinterface = "serial_a";
				phy_mode = "DPHY";
				vc_id = "1";
				discontinuous_clk = "no";
				dpcm_enable = "false";
				cil_settletime = "0";
				lane_polarity = "6";
				dynamic_pixel_bit_depth = "16";
				csi_pixel_bit_depth = "16";
				mode_type = "yuv";
				pixel_phase = "uyvy";
				
				active_w = "1920";
				active_h = "1080";
				readout_orientation = "0";
				line_length = "1920";
				inherent_gain = "1";
				pix_clk_hz = "200000000";
				serdes_pix_clk_hz = "550000000";

				gain_factor = "10";
				min_gain_val = "1"; /* dB */
				max_gain_val = "300"; /* dB */
				step_gain_val = "3"; /* 0.3 */
				default_gain = "1";
				min_hdr_ratio = "1";
				max_hdr_ratio = "1";
				framerate_factor = "1000000";
				min_framerate = "30000000";
				max_framerate = "30000000";
				step_framerate = "1";
				default_framerate = "30000000";
				exposure_factor = "1000000";
				min_exp_time = "59"; /*us, 2 lines*/
				max_exp_time = "33333";
				step_exp_time = "1";
				default_exp_time = "33333";/* us */
				embedded_metadata_height = "0";
			};
			mode2 {/*mode 1920x1536@30fps*/
				mclk_khz = "24000";
				num_lanes = "4";
				tegra_sinterface = "serial_a";
				phy_mode = "DPHY";
				vc_id = "1";
				discontinuous_clk = "no";
				dpcm_enable = "false";
				cil_settletime = "0";
				lane_polarity = "6";
				dynamic_pixel_bit_depth = "16";
				csi_pixel_bit_depth = "16";
				mode_type = "yuv";
				pixel_phase = "uyvy";

				active_w = "1920";
				active_h = "1536";
				readout_orientation = "0";
				line_length = "1920";
				inherent_gain = "1";
				//mclk_multiplier = "3.01";
				pix_clk_hz = "200000000";
				serdes_pix_clk_hz = "550000000";

				gain_factor = "100";
				min_gain_val = "100"; /* dB */
				max_gain_val = "1600"; /* dB */
				step_gain_val = "1"; /* 0.1 */
				default_gain = "100";
				min_hdr_ratio = "1";
				max_hdr_ratio = "1";
				framerate_factor = "1000000";
				min_framerate = "30000000";
				max_framerate = "30000000";
				step_framerate = "1";
				default_framerate = "30000000";
				exposure_factor = "1000000";
				min_exp_time = "28"; /*us, 2 lines*/
				max_exp_time = "22000";
				step_exp_time = "1";
				default_exp_time = "22000";/* us */
				embedded_metadata_height = "0";
			};
			mode3 {//sg2-gmsl2-gw5xxx(2880*1680)
				mclk_khz = "24000";
				num_lanes = "4";
				tegra_sinterface = "serial_a";
				phy_mode = "DPHY";
				vc_id = "1";
				discontinuous_clk = "no";
				dpcm_enable = "false";
				cil_settletime = "0";
				lane_polarity = "6";
				dynamic_pixel_bit_depth = "16";
				csi_pixel_bit_depth = "16";
				mode_type = "yuv";
				pixel_phase = "uyvy";
			
				active_w = "2880";
				active_h = "1860";
				readout_orientation = "0";
				line_length = "2880";
				inherent_gain = "1";
				pix_clk_hz = "350000000";
				serdes_pix_clk_hz = "400000000";

				gain_factor = "10";
				min_gain_val = "10"; /* dB */
				max_gain_val = "300"; /* dB */
				step_gain_val = "3"; /* 0.3 */
				default_gain = "10";
				min_hdr_ratio = "1";
				max_hdr_ratio = "1";
				framerate_factor = "1000000";
				min_framerate = "30000000";
				max_framerate = "30000000";
				step_framerate = "1";
				default_framerate = "30000000";
				exposure_factor = "1000000";
				min_exp_time = "59"; /*us, 2 lines*/
				max_exp_time = "33333";
				step_exp_time = "1";
				default_exp_time = "33333";/* us */
				embedded_metadata_height = "0";
			};
			mode4 {//sg2-gmsl2-gw5xxx(3840*2160)
				mclk_khz = "24000";
				num_lanes = "4";
				tegra_sinterface = "serial_a";
				vc_id = "1";
				discontinuous_clk = "no";
				dpcm_enable = "false";
				cil_settletime = "0";
				lane_polarity = "6";
				dynamic_pixel_bit_depth = "16";
				csi_pixel_bit_depth = "16";
				mode_type = "yuv";
				pixel_phase = "uyvy";
				
				active_w = "3840";
				active_h = "2160";
				readout_orientation = "0";
				line_length = "4200";
				inherent_gain = "1";
				pix_clk_hz = "320000000";
				serdes_pix_clk_hz = "700000000";

				gain_factor = "1000";
				min_gain_val = "1"; /* dB */
				max_gain_val = "30000"; /* dB */
				step_gain_val = "300"; /* 0.3 */
				default_gain = "0";
				min_hdr_ratio = "1";
				max_hdr_ratio = "1";
				framerate_factor = "1000000";
				min_framerate = "30000000";
				max_framerate = "30000000";
				step_framerate = "1";
				default_framerate = "30000000";
				exposure_factor = "1000000";
				min_exp_time = "59"; /*us, 2 lines*/
				max_exp_time = "33333";
				step_exp_time = "1";
				default_exp_time = "33333";/* us */
				embedded_metadata_height = "0";
			};

			ports {
				#address-cells = <1>;
				#size-cells = <0>;
				port@0 {
					reg = <0>;
					cam_csi_out1: endpoint {
						vc-id = <1>;
						port-index = <0>;
						bus-width = <4>;
						remote-endpoint = <&jetson_csi_in1>;
					};
				};
			};
		};
	}; 
 };

/ {

	tegra-camera-platform {
		compatible = "nvidia, tegra-camera-platform";

		num_csi_lanes = <8>;
		max_lane_speed = <4000000>;
		min_bits_per_pixel = <10>;
		vi_peak_byte_per_pixel = <2>;
		vi_bw_margin_pct = <25>;
		isp_peak_byte_per_pixel = <5>;
		isp_bw_margin_pct = <25>;

		/**
		 * The general guideline for naming badge_info contains 3 parts, and is as follows,
		 * The first part is the camera_board_id for the module; if the module is in a FFD
		 * platform, then use the platform name for this part.
		 * The second part contains the position of the module, ex. "rear" or "front".
		 * The third part contains the last 6 characters of a part number which is found
		 * in the module's specsheet from the vender.
		 */
		modules {
			module0 {
				badge = "cam_position0";
				position = "position0";
				orientation = "1";
				drivernode0 {
					/* Declare PCL support driver (classically known as guid)  */
					pcl_id = "v4l2_sensor";
					/* Driver v4l2 device name */
					devname = "fzcam 2-002e";
					/* Declare the device-tree hierarchy to driver instance */
					proc-device-tree = "/proc/device-tree/i2c@3180000/cam_0@2e";
				};
			};
			module1 {
				badge = "cam_position1";
				position = "position1";
				orientation = "1";
				drivernode0 {
					/* Declare PCL support driver (classically known as guid)  */
					pcl_id = "v4l2_sensor";
					/* Driver v4l2 device name */
					devname = "fzcam 2-002f";
					/* Declare the device-tree hierarchy to driver instance */
					proc-device-tree = "/proc/device-tree/i2c@3180000/cam_1@2f";
				};
			};
			module2 {
				badge = "cam_position2";
				position = "position2";
				orientation = "1";
				drivernode0 {
					/* Declare PCL support driver (classically known as guid)  */
					pcl_id = "v4l2_sensor";
					/* Driver v4l2 device name */
					devname = "fzcam 2-0030";
					/* Declare the device-tree hierarchy to driver instance */
					proc-device-tree = "/proc/device-tree/i2c@3180000/cam_2@30";
				};
			};
			module3 {
				badge = "cam_position3";
				position = "position3";
				orientation = "1";
				drivernode0 {
					/* Declare PCL support driver (classically known as guid)  */
					pcl_id = "v4l2_sensor";
					/* Driver v4l2 device name */
					devname = "fzcam 2-0031";
					/* Declare the device-tree hierarchy to driver instance */
					proc-device-tree = "/proc/device-tree/i2c@3180000/cam_3@31";
				};
			};
			module4 {
				badge = "cam_position4";
				position = "position4";
				orientation = "1";
				drivernode0 {
					/* Declare PCL support driver (classically known as guid)  */
					pcl_id = "v4l2_sensor";
					/* Driver v4l2 device name */
					devname = "fzcam 2-001b";
					/* Declare the device-tree hierarchy to driver instance */
					proc-device-tree = "/proc/device-tree/i2c@3180000/cam_4@1b";
				};
			};
			module5 {
				badge = "scam_position5";
				position = "position5";
				orientation = "1";
				drivernode0 {
					/* Declare PCL support driver (classically known as guid)  */
					pcl_id = "v4l2_sensor";
					/* Driver v4l2 device name */
					devname = "fzcam 2-001c";
					/* Declare the device-tree hierarchy to driver instance */
					proc-device-tree = "/proc/device-tree/i2c@3180000/cam_5@1c";
				};
			};
		};
	};
};
